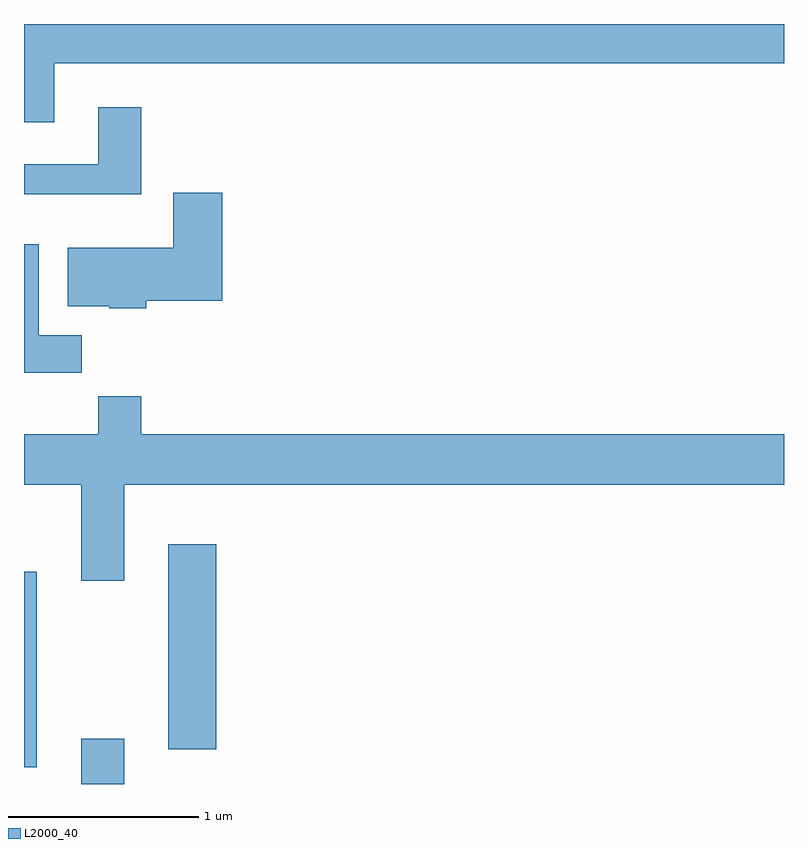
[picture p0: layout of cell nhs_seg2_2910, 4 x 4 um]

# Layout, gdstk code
import gdstk
lib = gdstk.Library(unit=1e-6, precision=1e-09)
def R(c, l, rs):  # rectangles x0, y0, x1, y1
    for r in rs: c.add(gdstk.rectangle(r[:2], r[2:], *l))
def P(c, l, *ps):  # polygons
    for p in ps: c.add(gdstk.Polygon(p, *l))
L2000_40 = (2000, 40)

nhs_seg2_2910 = lib.new_cell('nhs_seg2_2910')
R(nhs_seg2_2910, L2000_40, [(269.911,1097.802,270.139,1098.039), (269.611,1097.891,269.679,1098.919), (270.371,1097.986,270.624,1099.064)])
P(nhs_seg2_2910, L2000_40, [(269.769,1101.596),(273.611,1101.596),(273.611,1101.802),(269.611,1101.802),(269.611,1101.286),(269.769,1101.286)],
  [(270.229,1101.364),(270.001,1101.364),(270.001,1101.064),(269.611,1101.064),(269.611,1100.906),(270.229,1100.906)],
  [(270.254,1100.346),(270.654,1100.346),(270.654,1100.914),(270.396,1100.914),(270.396,1100.624),(269.841,1100.624),(269.841,1100.316),(270.06,1100.316),(270.06,1100.306),(270.254,1100.306)],
  [(269.914,1100.164),(269.689,1100.164),(269.689,1100.644),(269.611,1100.644),(269.611,1099.966),(269.914,1099.966)],
  [(270.139,1099.376),(273.611,1099.376),(273.611,1099.644),(270.229,1099.644),(270.229,1099.844),(270.001,1099.844),(270.001,1099.644),(269.611,1099.644),(269.611,1099.376),(269.911,1099.376),(269.911,1098.871),(270.139,1098.871)])

lib.write_gds('nhs_seg2_2910.gds')
